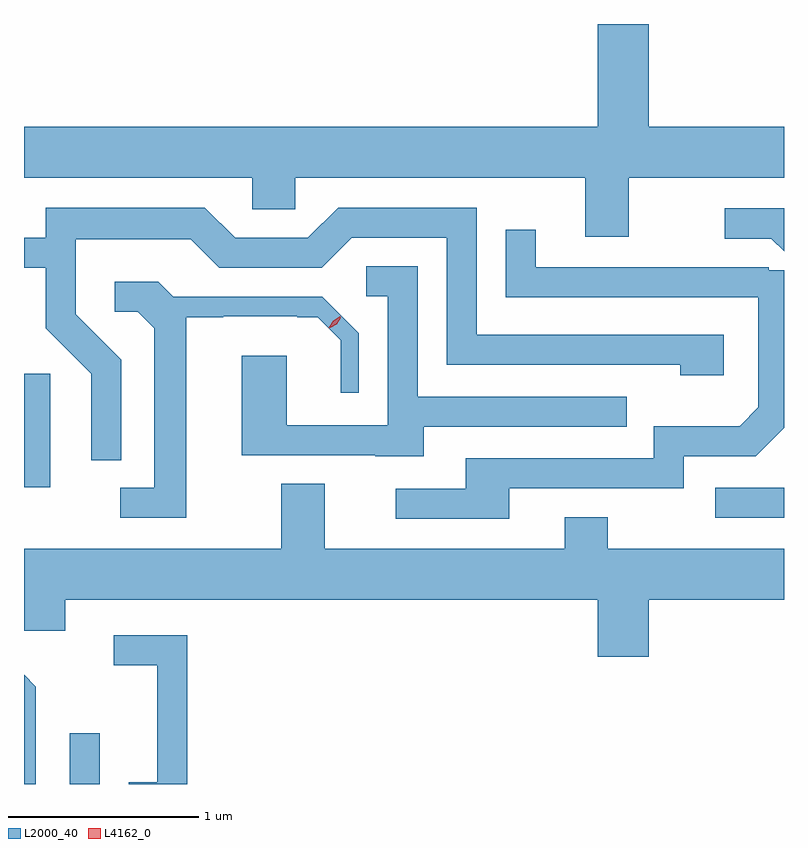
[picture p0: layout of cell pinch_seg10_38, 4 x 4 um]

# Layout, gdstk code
import gdstk
lib = gdstk.Library(unit=1e-6, precision=1e-09)
def R(c, l, rs):  # rectangles x0, y0, x1, y1
    for r in rs: c.add(gdstk.rectangle(r[:2], r[2:], *l))
def P(c, l, *ps):  # polygons
    for p in ps: c.add(gdstk.Polygon(p, *l))
L2000_40 = (2000, 40)
L4162_0 = (4162, 0)

pinch_seg10_38 = lib.new_cell('pinch_seg10_38')
R(pinch_seg10_38, L2000_40, [(591.916,2181.765,592.074,2182.033), (595.313,2183.166,595.676,2183.324), (591.676,2183.326,591.814,2183.924)])
P(pinch_seg10_38, L2000_40, [(594.859,2184.956),(595.676,2184.956),(595.676,2185.224),(594.964,2185.224),(594.964,2185.765),(594.696,2185.765),(594.696,2185.224),(591.676,2185.224),(591.676,2184.956),(592.876,2184.956),(592.876,2184.791),(593.104,2184.791),(593.104,2184.956),(594.631,2184.956),(594.631,2184.646),(594.859,2184.646)],
  [(592.189,2183.997),(591.949,2184.237),(591.949,2184.631),(592.554,2184.631),(592.704,2184.481),(593.242,2184.481),(593.402,2184.641),(593.901,2184.641),(593.901,2183.971),(595.131,2183.971),(595.131,2183.916),(595.359,2183.916),(595.359,2184.129),(594.059,2184.129),(594.059,2184.799),(593.329,2184.799),(593.169,2184.639),(592.787,2184.639),(592.627,2184.799),(591.791,2184.799),(591.791,2184.639),(591.676,2184.639),(591.676,2184.481),(591.791,2184.481),(591.791,2184.164),(592.031,2183.924),(592.031,2183.468),(592.189,2183.468)],
  [(595.676,2184.794),(595.363,2184.794),(595.363,2184.636),(595.609,2184.636),(595.676,2184.569)],
  [(594.229,2183.321),(595.149,2183.321),(595.149,2183.491),(595.527,2183.491),(595.676,2183.641),(595.676,2184.468),(595.595,2184.468),(595.595,2184.484),(594.369,2184.484),(594.369,2184.683),(594.211,2184.683),(594.211,2184.326),(595.541,2184.326),(595.541,2183.747),(595.444,2183.649),(594.991,2183.649),(594.991,2183.479),(594.001,2183.479),(594.001,2183.319),(593.633,2183.319),(593.633,2183.161),(594.229,2183.161)],
  [(593.779,2183.646),(594.848,2183.646),(594.848,2183.804),(593.749,2183.804),(593.749,2184.489),(593.478,2184.489),(593.478,2184.331),(593.591,2184.331),(593.591,2183.654),(593.059,2183.654),(593.059,2184.019),(592.821,2184.019),(592.821,2183.496),(593.525,2183.496),(593.525,2183.491),(593.779,2183.491)],
  [(592.529,2184.221),(592.725,2184.221),(592.725,2184.226),(593.114,2184.226),(593.114,2184.222),(593.221,2184.222),(593.343,2184.1),(593.343,2183.823),(593.437,2183.823),(593.437,2184.138),(593.245,2184.329),(592.462,2184.329),(592.382,2184.409),(592.153,2184.409),(592.153,2184.251),(592.274,2184.251),(592.361,2184.164),(592.361,2183.324),(592.183,2183.324),(592.183,2183.166),(592.529,2183.166)],
  [(594.964,2182.736),(595.676,2182.736),(595.676,2183.004),(594.749,2183.004),(594.749,2183.169),(594.521,2183.169),(594.521,2183.004),(593.259,2183.004),(593.259,2183.344),(593.031,2183.344),(593.031,2183.004),(591.676,2183.004),(591.676,2182.571),(591.894,2182.571),(591.894,2182.736),(594.696,2182.736),(594.696,2182.436),(594.964,2182.436)],
  [(592.534,2182.549),(592.148,2182.549),(592.148,2182.391),(592.376,2182.391),(592.376,2181.774),(592.226,2181.774),(592.226,2181.765),(592.534,2181.765)],
  [(591.739,2182.277),(591.676,2182.34),(591.676,2181.765),(591.739,2181.765)])
P(pinch_seg10_38, L4162_0, [(593.279,2184.165),(593.279,2184.166),(593.304,2184.204),(593.343,2184.23),(593.344,2184.23),(593.344,2184.229),(593.319,2184.19),(593.28,2184.165)],
  [(593.287,2184.166),(593.287,2184.166),(593.308,2184.2),(593.342,2184.221),(593.343,2184.221),(593.343,2184.22),(593.322,2184.186),(593.288,2184.166)])

lib.write_gds('pinch_seg10_38.gds')
